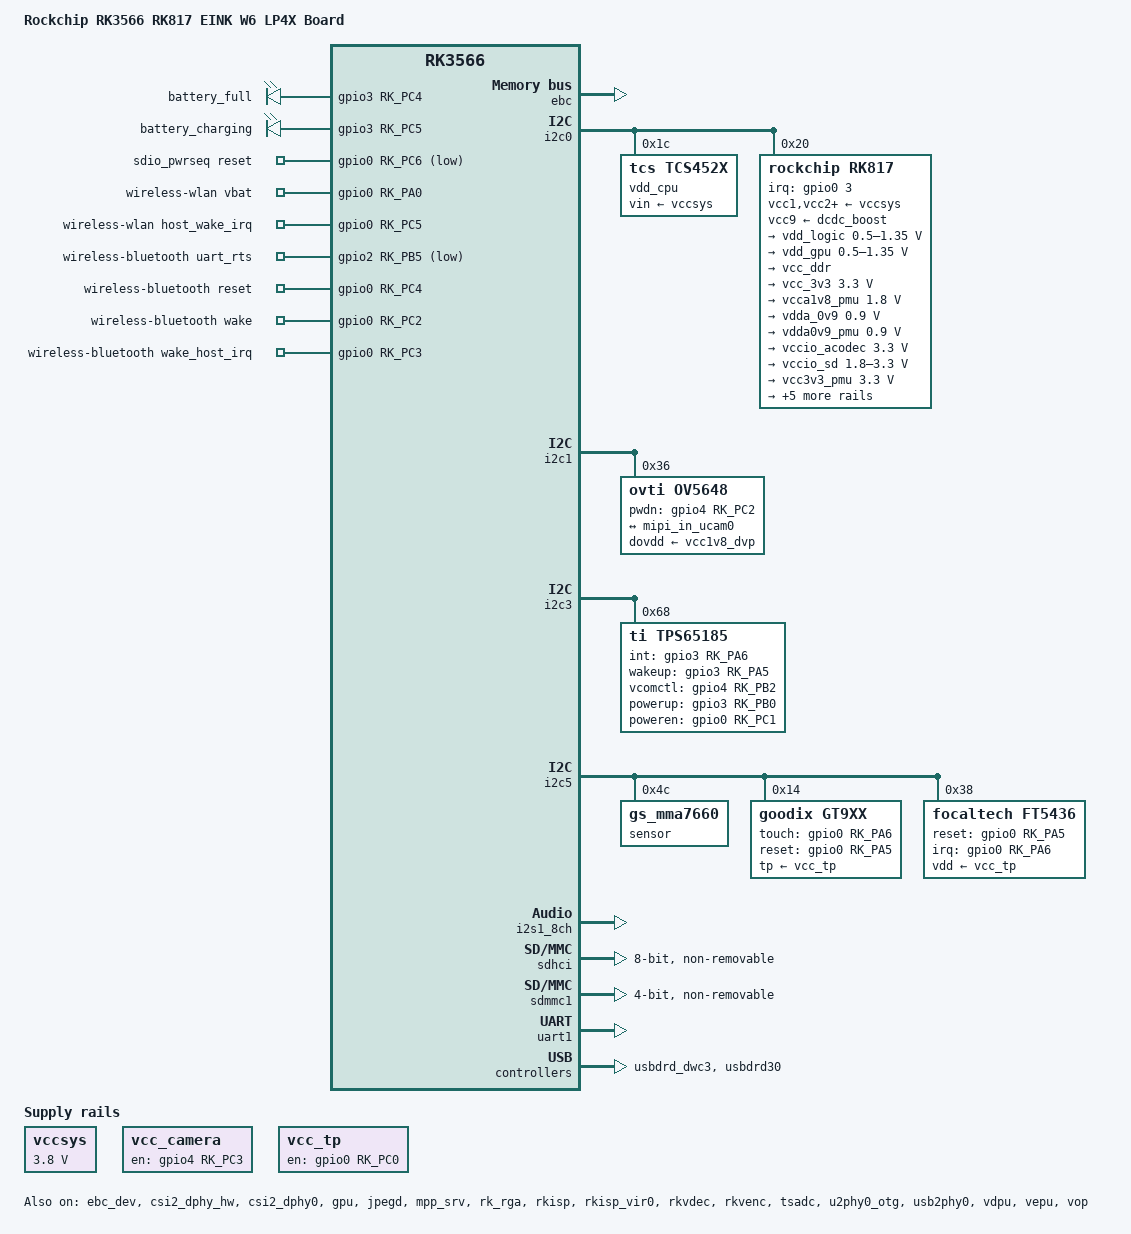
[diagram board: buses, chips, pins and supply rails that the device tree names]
// SPDX-License-Identifier: (GPL-2.0+ OR MIT)
/*
 * Copyright (c) 2021 Rockchip Electronics Co., Ltd.
 *
 */

/dts-v1/;

#include <dt-bindings/gpio/gpio.h>
#include <dt-bindings/pinctrl/rockchip.h>
#include <dt-bindings/input/rk-input.h>
#include <dt-bindings/sensor-dev.h>
#include <dt-bindings/display/drm_mipi_dsi.h>
#include "rk3566.dtsi"
#include "rk3568-android.dtsi"
#include "rk3566-eink.dtsi"

/ {
	model = "Rockchip RK3566 RK817 EINK W6 LP4X Board";
	compatible = "rockchip,rk3566-rk817-eink-W6", "rockchip,rk3566";

	charge-animation {
		compatible = "rockchip,uboot-charge";
		rockchip,uboot-charge-on = <1>;
		rockchip,android-charge-on = <0>;
		rockchip,uboot-low-power-voltage = <3350>;
		rockchip,screen-on-voltage = <3400>;
		rockchip,auto-wakeup-interval = <60>;
		status = "okay";
	};

	adc_keys: adc-keys {
		status = "disabled";
		compatible = "adc-keys";
		io-channels = <&saradc 0>;
		io-channel-names = "buttons";
		keyup-threshold-microvolt = <1800000>;
		poll-interval = <100>;

		vol-up-key {
			label = "volume up";
			linux,code = <KEY_VOLUMEUP>;
			press-threshold-microvolt = <1750>;
		};
	};

	hdmi_sound: hdmi-sound {
		compatible = "simple-audio-card";
		simple-audio-card,format = "i2s";
		simple-audio-card,mclk-fs = <128>;
		simple-audio-card,name = "rockchip,hdmi";
		status = "disabled";

		simple-audio-card,cpu {
			sound-dai = <&i2s0_8ch>;
		};
		simple-audio-card,codec {
			sound-dai = <&hdmi>;
		};
	};

	leds: gpio-leds {
		compatible = "gpio-leds";
		pinctrl-names = "default";
		pinctrl-0 =<&leds_gpio>;

		led@1 {
			gpios = <&gpio3 RK_PC4 GPIO_ACTIVE_HIGH>;
			linux,default-trigger = "battery-full";
			label = "battery_full";
			retain-state-suspended;
		};

		led@2 {
			gpios = <&gpio3 RK_PC5 GPIO_ACTIVE_HIGH>;
			linux,default-trigger = "battery-charging";
			label = "battery_charging";
			retain-state-suspended;
		};
	};

	vccsys: vccsys {
		compatible = "regulator-fixed";
		regulator-name = "vcc3v8_sys";
		regulator-always-on;
		regulator-boot-on;
		regulator-min-microvolt = <3800000>;
		regulator-max-microvolt = <3800000>;
	};

	vcc_camera: vcc-camera-regulator {
		compatible = "regulator-fixed";
		gpio = <&gpio4 RK_PC3 GPIO_ACTIVE_HIGH>;
		pinctrl-names = "default";
		pinctrl-0 = <&camera_rst>;
		regulator-name = "vcc_camera";
		enable-active-high;
		regulator-always-on;
		regulator-boot-on;
	};

	vcc_tp: vcc-tp-regulator {
		compatible = "regulator-fixed";
		enable-active-high;
		gpio = <&gpio0 RK_PC0 GPIO_ACTIVE_HIGH>;
		pinctrl-names = "default";
		pinctrl-0 = <&vcc_tp_en>;
		regulator-name = "vcc_tp";
	};

	dummy_codec: dummy-codec {
		compatible = "rockchip,dummy-codec";
		#sound-dai-cells = <0>;
	};

	mic_sound: mic-sound {
		compatible = "simple-audio-card";
		simple-audio-card,name = "rockchip,rk-mic-sound";
		simple-audio-card,cpu {
			sound-dai = <&i2s1_8ch>;
		};
		simple-audio-card,codec {
			sound-dai = <&dummy_codec>;
		};
	};

	sdio_pwrseq: sdio-pwrseq {
		compatible = "mmc-pwrseq-simple";
		clocks = <&rk817 1>;
		clock-names = "ext_clock";
		pinctrl-names = "default";
		pinctrl-0 = <&wifi_enable_h>;

		/*
		 * On the module itself this is one of these (depending
		 * on the actual card populated):
		 * - SDIO_RESET_L_WL_REG_ON
		 * - PDN (power down when low)
		 */
		post-power-on-delay-ms = <200>;
		reset-gpios = <&gpio0 RK_PC6 GPIO_ACTIVE_LOW>;
	};

	wireless-wlan {
		compatible = "wlan-platdata";
		rockchip,grf = <&grf>;
		wifi_chip_type = "ap6255";
		pinctrl-names = "default";
		pinctrl-0 = <&wifi_vbat &wifi_host_wake_irq>;
		WIFI,vbat_gpio = <&gpio0 RK_PA0 GPIO_ACTIVE_HIGH>;
		WIFI,host_wake_irq = <&gpio0 RK_PC5 GPIO_ACTIVE_HIGH>;
		status = "okay";
	};

	wireless-bluetooth {
		compatible = "bluetooth-platdata";
		clocks = <&rk817 1>;
		clock-names = "ext_clock";
		wifi-bt-power-toggle;
		uart_rts_gpios = <&gpio2 RK_PB5 GPIO_ACTIVE_LOW>;
		pinctrl-names = "default", "rts_gpio";
		pinctrl-0 = <&uart1m0_rtsn>;
		pinctrl-1 = <&uart1_gpios>;
		BT,reset_gpio    = <&gpio0 RK_PC4 GPIO_ACTIVE_HIGH>;
		BT,wake_gpio     = <&gpio0 RK_PC2 GPIO_ACTIVE_HIGH>;
		BT,wake_host_irq = <&gpio0 RK_PC3 GPIO_ACTIVE_HIGH>;
		status = "okay";
	};
};

&ebc {
	/* clock rate 1000M/n, (n=1~32) */
	assigned-clocks = <&cru CPLL_333M>, <&cru DCLK_EBC>;
	assigned-clock-rates = <85000000>, <85000000>;
	status = "okay";
};

&ebc_dev {
	pmic = <&tps65185>;
	status = "okay";

	/* ED060XCD */
	panel,width = <1024>;
	panel,height = <758>;
	panel,vir_width = <1024>;
	panel,vir_height = <758>;
	panel,sdck = <20000000>;
	panel,lsl = <6>;
	panel,lbl = <6>;
	panel,ldl = <256>;
	panel,lel = <38>;
	panel,gdck-sta = <4>;
	panel,lgonl = <262>;
	panel,fsl = <2>;
	panel,fbl = <4>;
	panel,fdl = <758>;
	panel,fel = <5>;
	panel,mirror = <0>;
	panel,panel_16bit = <0>;
	panel,panel_color = <0>;
	panel,width-mm = <90>;
	panel,height-mm = <122>;
};

&cpu0 {
	cpu-supply = <&vdd_cpu>;
};

&csi2_dphy_hw {
	status = "okay";
};

&csi2_dphy0 {
	status = "okay";

	ports {
		#address-cells = <1>;
		#size-cells = <0>;
		port@0 {
			reg = <0>;
			#address-cells = <1>;
			#size-cells = <0>;

			mipi_in_ucam0: endpoint@0 {
				reg = <0>;
				remote-endpoint = <&ov5648_out>;
				data-lanes = <1 2>;
			};
		};
		port@1 {
			reg = <1>;
			#address-cells = <1>;
			#size-cells = <0>;

			csidphy0_out: endpoint@0 {
				reg = <0>;
				remote-endpoint = <&isp0_in>;
			};
		};
	};
};

&gpu {
	mali-supply = <&vdd_gpu>;
	status = "okay";
};

&hdmi {
	status = "disabled";
};

&hdmi_in_vp0 {
	status = "disabled";
};

&hdmi_in_vp1 {
	status = "disabled";
};

&hdmi_sound {
	status = "disabled";
};

&i2c0 {
	status = "okay";

	vdd_cpu: tcs4525@1c {
		compatible = "tcs,tcs452x";
		reg = <0x1c>;
		vin-supply = <&vccsys>;
		regulator-compatible = "fan53555-reg";
		regulator-name = "vdd_cpu";
		regulator-min-microvolt = <712500>;
		regulator-max-microvolt = <1390000>;
		regulator-init-microvolt = <900000>;
		regulator-ramp-delay = <2300>;
		fcs,suspend-voltage-selector = <0>;
		regulator-boot-on;
		regulator-always-on;
		regulator-initial-mode = <0x2>;
		regulator-state-mem {
			regulator-on-in-suspend;
			regulator-suspend-microvolt = <1100000>;
			regulator-changeable-in-suspend;
		};
	};

	rk817: pmic@20 {
		compatible = "rockchip,rk817";
		reg = <0x20>;
		interrupt-parent = <&gpio0>;
		interrupts = <3 IRQ_TYPE_LEVEL_LOW>;
		pinctrl-names = "default";
//		pinctrl-names = "default", "pmic-sleep",
//				"pmic-power-off", "pmic-reset";
		pinctrl-0 = <&pmic_int>;
//		pinctrl-1 = <&soc_slppin_slp>, <&rk817_slppin_slp>;
//		pinctrl-2 = <&soc_slppin_gpio>, <&rk817_slppin_pwrdn>;
//		pinctrl-3 = <&soc_slppin_gpio>, <&rk817_slppin_rst>;
		rockchip,system-power-controller;
		wakeup-source;
		#clock-cells = <1>;
		clock-output-names = "rk808-clkout1", "rk808-clkout2";
		//fb-inner-reg-idxs = <2>;
		/* 1: rst regs (default in codes), 0: rst the pmic */
		pmic-reset-func = <0>;
		/* not save the PMIC_POWER_EN register in uboot */
		not-save-power-en = <1>;
		vcc1-supply = <&vccsys>;
		vcc2-supply = <&vccsys>;
		vcc3-supply = <&vccsys>;
		vcc4-supply = <&vccsys>;
		vcc5-supply = <&vccsys>;
		vcc6-supply = <&vccsys>;
		vcc7-supply = <&vccsys>;
		vcc8-supply = <&vccsys>;
		vcc9-supply = <&dcdc_boost>;

		pwrkey {
			status = "okay";
		};

		pinctrl_rk8xx: pinctrl_rk8xx {
			gpio-controller;
			#gpio-cells = <2>;

			rk817_slppin_null: rk817_slppin_null {
				pins = "gpio_slp";
				function = "pin_fun0";
			};

			rk817_slppin_slp: rk817_slppin_slp {
				pins = "gpio_slp";
				function = "pin_fun1";
			};

			rk817_slppin_pwrdn: rk817_slppin_pwrdn {
				pins = "gpio_slp";
				function = "pin_fun2";
			};

			rk817_slppin_rst: rk817_slppin_rst {
				pins = "gpio_slp";
				function = "pin_fun3";
			};
		};

		regulators {
			vdd_logic: DCDC_REG1 {
				regulator-always-on;
				regulator-boot-on;
				regulator-min-microvolt = <500000>;
				regulator-max-microvolt = <1350000>;
				regulator-init-microvolt = <900000>;
				regulator-ramp-delay = <6001>;
				regulator-initial-mode = <0x2>;
				regulator-name = "vdd_logic";
				regulator-state-mem {
					regulator-off-in-suspend;
					regulator-suspend-microvolt = <900000>;
					regulator-changeable-in-suspend;
				};
			};

			vdd_gpu: DCDC_REG2 {
				regulator-always-on;
				regulator-boot-on;
				regulator-min-microvolt = <500000>;
				regulator-max-microvolt = <1350000>;
				regulator-init-microvolt = <900000>;
				regulator-ramp-delay = <6001>;
				regulator-initial-mode = <0x2>;
				regulator-name = "vdd_gpu";
					regulator-state-mem {
					regulator-off-in-suspend;
					regulator-changeable-in-suspend;
				};
			};

			vcc_ddr: DCDC_REG3 {
				regulator-always-on;
				regulator-boot-on;
				regulator-initial-mode = <0x2>;
				regulator-name = "vcc_ddr";
				regulator-state-mem {
					regulator-on-in-suspend;
				};
			};

			vcc_3v3: DCDC_REG4 {
				regulator-always-on;
				regulator-boot-on;
				regulator-min-microvolt = <3300000>;
				regulator-max-microvolt = <3300000>;
				regulator-initial-mode = <0x2>;
				regulator-name = "vcc_3v3";
				regulator-state-mem {
					regulator-off-in-suspend;
					regulator-changeable-in-suspend;
				};
			};

			vcca1v8_pmu: LDO_REG1 {
				regulator-always-on;
				regulator-boot-on;
				regulator-min-microvolt = <1800000>;
				regulator-max-microvolt = <1800000>;
				regulator-name = "vcca1v8_pmu";
				regulator-state-mem {
					regulator-on-in-suspend;
					regulator-suspend-microvolt = <1800000>;
					regulator-changeable-in-suspend;
				};
			};

			vdda_0v9: LDO_REG2 {
				regulator-always-on;
				regulator-boot-on;
				regulator-min-microvolt = <900000>;
				regulator-max-microvolt = <900000>;
				regulator-name = "vdda_0v9";
				regulator-state-mem {
					regulator-off-in-suspend;
					regulator-changeable-in-suspend;
				};
			};

			vdda0v9_pmu: LDO_REG3 {
				regulator-always-on;
				regulator-boot-on;
				regulator-min-microvolt = <900000>;
				regulator-max-microvolt = <900000>;
				regulator-name = "vdda0v9_pmu";
				regulator-state-mem {
					regulator-on-in-suspend;
					regulator-suspend-microvolt = <900000>;
					regulator-changeable-in-suspend;
				};
			};

			vccio_acodec: LDO_REG4 {
				regulator-always-on;
				regulator-boot-on;
				regulator-min-microvolt = <3300000>;
				regulator-max-microvolt = <3300000>;
				regulator-name = "vccio_acodec";
				regulator-state-mem {
					regulator-off-in-suspend;
					regulator-changeable-in-suspend;
				};
			};

			vccio_sd: LDO_REG5 {
				regulator-min-microvolt = <1800000>;
				regulator-max-microvolt = <3300000>;
				regulator-name = "vccio_sd";
				regulator-state-mem {
					regulator-off-in-suspend;
					regulator-changeable-in-suspend;
				};
			};

			vcc3v3_pmu: LDO_REG6 {
				regulator-always-on;
				regulator-boot-on;
				regulator-min-microvolt = <3300000>;
				regulator-max-microvolt = <3300000>;
				regulator-name = "vcc3v3_pmu";
				regulator-state-mem {
					regulator-on-in-suspend;
					regulator-suspend-microvolt = <3000000>;
					regulator-changeable-in-suspend;
				};
			};

			vcc_1v8: LDO_REG7 {
				regulator-always-on;
				regulator-boot-on;
				regulator-min-microvolt = <1800000>;
				regulator-max-microvolt = <1800000>;
				regulator-name = "vcc_1v8";
				regulator-state-mem {
					regulator-off-in-suspend;
					regulator-changeable-in-suspend;
				};
			};

			vcc1v8_dvp: LDO_REG8 {
				regulator-min-microvolt = <1800000>;
				regulator-max-microvolt = <1800000>;
				regulator-name = "vcc1v8_dvp";
				regulator-state-mem {
					regulator-off-in-suspend;
					regulator-changeable-in-suspend;
				};
			};

			sleep_sta_ctl: LDO_REG9 {
				regulator-name = "sleep_sta_ctl";
				regulator-state-mem {
					regulator-on-in-suspend;
					regulator-suspend-microvolt = <3300000>;
					regulator-changeable-in-suspend;
				};
			};

			dcdc_boost: BOOST {
				regulator-always-on;
				regulator-boot-on;
				regulator-min-microvolt = <4700000>;
				regulator-max-microvolt = <5400000>;
				regulator-name = "boost";
				regulator-state-mem {
					regulator-off-in-suspend;
					regulator-changeable-in-suspend;
				};
			};

			otg_switch: OTG_SWITCH {
				regulator-name = "otg_switch";
				regulator-state-mem {
					regulator-off-in-suspend;
					regulator-changeable-in-suspend;
				};
			};
		};

		battery {
			compatible = "rk817,battery";
			ocv_table = <3400 3513 3578 3687 3734 3752 3763
				     3766 3771 3784 3804 3836 3885 3925
				     3962 4005 4063 4114 4169 4227 4303>;
			design_capacity = <2250>;
			design_qmax = <2750>;
			bat_res = <100>;
			sleep_enter_current = <150>;
			sleep_exit_current = <180>;
			sleep_filter_current = <100>;
			power_off_thresd = <3450>;
			zero_algorithm_vol = <3850>;
			max_soc_offset = <60>;
			monitor_sec = <5>;
			sample_res = <10>;
			virtual_power = <0>;
			low_power_sleep = <1>;
		};

		charger {
			compatible = "rk817,charger";
			min_input_voltage = <4500>;
			max_input_current = <1500>;
			max_chrg_current = <2000>;
			max_chrg_voltage = <4300>;
			chrg_term_mode = <0>;
			chrg_finish_cur = <300>;
			virtual_power = <0>;
			dc_det_adc = <0>;
			extcon = <&usb2phy0>;
			gate_function_disable = <1>;
		};
	};
};

&i2c1 {
	status = "okay";

	ov5648: ov5648@36 {
		status = "okay";
		compatible = "ovti,ov5648";
		reg = <0x36>;
		clocks = <&cru CLK_CAM0_OUT>;
		clock-names = "xvclk";
		/* avdd-supply = <&vcc2v8_dvp>; */
		dovdd-supply = <&vcc1v8_dvp>;
		/* dvdd-supply = <&vcc1v8_dvp>; */

		power-domains = <&power RK3568_PD_VI>;
		pinctrl-names = "default";
		pinctrl-0 = <&cam_clkout0>;
		//reset pin control by hardware,used this pin switch to mipi input
		//1->2LANE(LANE 0&1) FRONT camera, 0->4LANE REAR camera
		//reset-gpios = <&gpio4 RK_PC3 GPIO_ACTIVE_LOW>;
		pwdn-gpios = <&gpio4 RK_PC2 GPIO_ACTIVE_HIGH>;
		rockchip,camera-module-index = <0>;
		rockchip,camera-module-facing = "back";
		rockchip,camera-module-name = "HS5885-BNSM1018-V01";
		rockchip,camera-module-lens-name = "default";
		port {
			ov5648_out: endpoint {
				remote-endpoint = <&mipi_in_ucam0>;
				data-lanes = <1 2>;
			};
		};
	};
};

&i2c3 {
	status = "okay";
	pinctrl-names = "default";
	pinctrl-0 = <&i2c3m1_xfer>;

	tps65185: tps65185@68 {
		compatible = "ti,tps65185";
		reg = <0x68>;
		pinctrl-names = "default";
		pinctrl-0 = <&tps65185_gpio>;
		int-gpios = <&gpio3 RK_PA6 GPIO_ACTIVE_HIGH>;
		wakeup-gpios = <&gpio3 RK_PA5 GPIO_ACTIVE_HIGH>;
		vcomctl-gpios = <&gpio4 RK_PB2 GPIO_ACTIVE_HIGH>;
		powerup-gpios = <&gpio3 RK_PB0 GPIO_ACTIVE_HIGH>;
		poweren-gpios = <&gpio0 RK_PC1 GPIO_ACTIVE_HIGH>;
	};

};

&i2c5 {
	status = "okay";

	sensor@4c {
		status = "okay";
		compatible = "gs_mma7660";
		reg = <0x4c>;
		type = <SENSOR_TYPE_ACCEL>;
		irq_enable = <0>;
		poll_delay_ms = <30>;
		layout = <6>;
		reprobe_en = <1>;
	};

	gt9xx: gt9xx@14 {
		compatible = "goodix,gt9xx";
		reg = <0x14>;
		pinctrl-names = "default";
		pinctrl-0 = <&tp_gpio>;
		touch-gpio = <&gpio0 RK_PA6 GPIO_ACTIVE_HIGH>;
		reset-gpio = <&gpio0 RK_PA5 GPIO_ACTIVE_HIGH>;
		touchscreen-size-x = <1024>;
		touchscreen-size-y = <758>;
		max-x = <1024>;
		max-y = <758>;
		tp-size = <9111>;
		tp-supply = <&vcc_tp>;
		wakeup-source;
		touchscreen-key-map = <158>; //KEY_HOMEPAGE=172,KEY_BACK=158,KEY_MENU=139
		goodix,driver-send-cfg = <0>;
		goodix,cfg-group0 =[
			42 00 03 00 04 0A 45 03 22 1F 28 0F 64 3C 03 0F 00 00 00 00 11 00
			08 00 00 00 00 8B 29 0E 71 6F B2 04 00 00 00 39 02 10 00 21 00 00
			00 03 64 32 00 00 00 3C 78 94 D5 02 07 00 00 04 C8 40 00 B1 4A 00
			9E 55 00 8E 61 00 7F 70 00 7F 70 00 00 00 F0 90 3C FF FF 07 00 00
			00 00 00 00 00 00 00 00 00 00 00 00 00 00 00 00 00 00 00 00 00 00
			00 00 1C 1A 18 16 14 12 10 0E 0C 0A 08 06 04 02 FF FF FF FF FF FF
			FF FF FF FF FF FF FF FF FF FF 00 02 04 06 08 0A 0C 0F 10 12 13 16
			18 1C 1D 1E 1F 20 21 22 FF FF FF FF FF FF FF FF FF FF FF FF FF FF
			FF FF FF FF FF FF FF FF F6 01
		];
	};

	ft5436: focaltech@38 {
		status = "okay";
		compatible = "focaltech,ft5436";
		reg = <0x38>;
		pinctrl-names = "default";
		pinctrl-0 = <&tp_gpio>;
		vdd-supply = <&vcc_tp>;
		focaltech,reset-gpio = <&gpio0 RK_PA5 GPIO_ACTIVE_HIGH>;
		focaltech,irq-gpio = <&gpio0 RK_PA6 IRQ_TYPE_EDGE_FALLING>;
		focaltech,max-touch-number = <5>;
		focaltech,display-coords =  <0 0 1024 758>;
		focaltech,have-key = <1>;
		focaltech,key-number = <1>;

		focaltech,key-x-coords = <300>;
		focaltech,key-y-coords = <1200>;
		wakeup-source;
	};
};

&i2s0_8ch {
	status = "disabled";
};

&i2s1_8ch {
	status = "okay";
	rockchip,clk-trcm = <1>;
	pinctrl-names = "default";
	pinctrl-0 = <&i2s1m0_sclktx
		     &i2s1m0_lrcktx
		     &i2s1m0_sdi0
		     &i2s1m0_sdo0>;
};

&jpegd {
	status = "okay";
};

&jpegd_mmu {
	status = "okay";
};

&video_phy0 {
	status = "disabled";
};

&mpp_srv {
	status = "okay";
};

&nandc0 {
	status = "disabled";
};

&pinctrl {
	cam {
		cam_clkout0: cam-clkout0 {
			rockchip,pins =
				/* cam_clkout0 */
				<4 RK_PA7 1 &pcfg_pull_none>;
		};

		camera_rst: camera-rst {
			rockchip,pins =
				<4 RK_PC3 RK_FUNC_GPIO &pcfg_pull_none>;
		};
	};

	leds {
		leds_gpio: leds-gpio {
			rockchip,pins =
				<3 RK_PC4 RK_FUNC_GPIO &pcfg_pull_none>,
				<3 RK_PC5 RK_FUNC_GPIO &pcfg_pull_none>;
		};
	};

	tps_pmic {
		tps65185_gpio: tps65185-gpio {
			rockchip,pins =
				<4 RK_PB2 RK_FUNC_GPIO &pcfg_pull_up>,
				<3 RK_PA5 RK_FUNC_GPIO &pcfg_pull_up>,
				<3 RK_PA6 RK_FUNC_GPIO &pcfg_pull_up>,
				<3 RK_PB0 RK_FUNC_GPIO &pcfg_pull_up>,
				<0 RK_PC1 RK_FUNC_GPIO &pcfg_output_high>;
		};
	};

	tp {
		tp_gpio: tp-gpio {
			rockchip,pins =
				<0 RK_PA5 RK_FUNC_GPIO &pcfg_pull_up>,
				<0 RK_PA6 RK_FUNC_GPIO &pcfg_pull_up>;
		};
	};

	pmic {
		pmic_int: pmic_int {
			rockchip,pins =
				<0 RK_PA3 RK_FUNC_GPIO &pcfg_pull_up>;
		};

		soc_slppin_gpio: soc_slppin_gpio {
			rockchip,pins =
				<0 RK_PA2 RK_FUNC_GPIO &pcfg_output_low>;
		};

		soc_slppin_slp: soc_slppin_slp {
			rockchip,pins =
				<0 RK_PA2 1 &pcfg_pull_none>;
		};

		soc_slppin_rst: soc_slppin_rst {
			rockchip,pins =
				<0 RK_PA2 2 &pcfg_pull_none>;
		};
	};

	sdio-pwrseq {
		wifi_enable_h: wifi-enable-h {
			rockchip,pins = <0 RK_PC6 RK_FUNC_GPIO &pcfg_pull_none>;
		};
	};

	vcc-tp {
		vcc_tp_en: vcc-tp-en {
			rockchip,pins = <0 RK_PC0 RK_FUNC_GPIO &pcfg_pull_none>;
		};
	};

	wireless-wlan {
		wifi_vbat: wifi-vbat {
			rockchip,pins = <0 RK_PA0 RK_FUNC_GPIO &pcfg_pull_none>;
		};

		wifi_host_wake_irq: wifi-host-wake-irq {
			rockchip,pins = <0 RK_PC5 RK_FUNC_GPIO &pcfg_pull_down>;
		};
	};

	wireless-bluetooth {
		uart1_gpios: uart1-gpios {
			rockchip,pins = <2 RK_PB5 RK_FUNC_GPIO &pcfg_pull_none>;
		};
	};
};

&pmu_io_domains {
	status = "okay";
	pmuio1-supply = <&vcc3v3_pmu>;
	pmuio2-supply = <&vcca1v8_pmu>;
	vccio1-supply = <&vccio_acodec>;
	vccio3-supply = <&vcc_3v3>;
	vccio4-supply = <&vcca1v8_pmu>;
	vccio5-supply = <&vcc_3v3>;
	vccio6-supply = <&vcc_3v3>;
	vccio7-supply = <&vcc1v8_dvp>;
};

&pwm4 {
	status = "disabled";
};

&rk_rga {
	status = "okay";
};

&rkisp {
	status = "okay";
};

&rkisp_mmu {
	status = "okay";
};

&rkisp_vir0 {
	status = "okay";

	port {
		#address-cells = <1>;
		#size-cells = <0>;

		isp0_in: endpoint@0 {
			reg = <0>;
			remote-endpoint = <&csidphy0_out>;
		};
	};
};

&rkvdec {
	status = "okay";
};

&rkvdec_mmu {
	status = "okay";
};

&rkvenc {
	status = "okay";
};

&rkvenc_mmu {
	status = "okay";
};

&rockchip_suspend {
	status = "okay";

	rockchip,regulator-off-in-mem-lite =
		<&vdd_cpu>, <&vdd_logic>, <&vdd_gpu>, <&vcc_3v3>, <&vdda_0v9>, <&vcc_1v8>,
		<&vccio_acodec>, <&vccio_sd>, <&vcc1v8_dvp>, <&dcdc_boost>, <&otg_switch>,
		<&sleep_sta_ctl>;
	rockchip,regulator-on-in-mem-lite =
		<&vcc_ddr>, <&vdda0v9_pmu>, <&vcca1v8_pmu>, <&vcc3v3_pmu>;

	rockchip,regulator-off-in-mem =
		<&vdd_cpu>, <&vdd_logic>, <&vdd_gpu>, <&vcc_3v3>, <&vdda_0v9>, <&vcc_1v8>,
		<&vccio_acodec>, <&vccio_sd>, <&vcc1v8_dvp>, <&dcdc_boost>, <&otg_switch>,
		<&sleep_sta_ctl>;
	rockchip,regulator-on-in-mem =
		<&vcc_ddr>, <&vdda0v9_pmu>, <&vcca1v8_pmu>, <&vcc3v3_pmu>;

	rockchip,regulator-off-in-mem-ultra =
		<&vdd_logic>, <&vdd_gpu>, <&vcc_ddr>, <&vcc_3v3>, <&vdda_0v9>, <&vcc_1v8>,
		<&vdda0v9_pmu>, <&vcca1v8_pmu>, <&vcc3v3_pmu>, <&vccio_acodec>, <&vccio_sd>,
		<&vcc1v8_dvp>, <&dcdc_boost>, <&otg_switch>;
	rockchip,regulator-on-in-mem-ultra = <&vdd_cpu>, <&sleep_sta_ctl>;
};

&saradc {
	status = "disabled";
	vref-supply = <&vcc_1v8>;
};

&sdhci {
	bus-width = <8>;
	no-sdio;
	no-sd;
	non-removable;
	keep-power-in-suspend;
	max-frequency = <200000000>;
	status = "okay";
};

&sdmmc1 {
	max-frequency = <150000000>;
	no-sd;
	no-mmc;
	bus-width = <4>;
	disable-wp;
	cap-sd-highspeed;
	cap-sdio-irq;
	keep-power-in-suspend;
	mmc-pwrseq = <&sdio_pwrseq>;
	non-removable;
	pinctrl-names = "default";
	pinctrl-0 = <&sdmmc1_bus4 &sdmmc1_cmd &sdmmc1_clk>;
	sd-uhs-sdr104;
	rockchip,default-sample-phase = <90>;
	status = "okay";
};

&tsadc {
	status = "okay";
};

&uart1 {
	status = "okay";
	pinctrl-names = "default";
	pinctrl-0 = <&uart1m0_xfer &uart1m0_ctsn>;
};

&u2phy0_otg {
	status = "okay";
};

&usb2phy0 {
	status = "okay";
};

&usbdrd_dwc3 {
	status = "okay";
};

&usbdrd30 {
	status = "okay";
};

&vdpu {
	status = "okay";
};

&vdpu_mmu {
	status = "okay";
};

&vepu {
	status = "okay";
};

&vepu_mmu {
	status = "okay";
};

&vop {
	status = "okay";
};

&vop_mmu {
	status = "okay";
};
